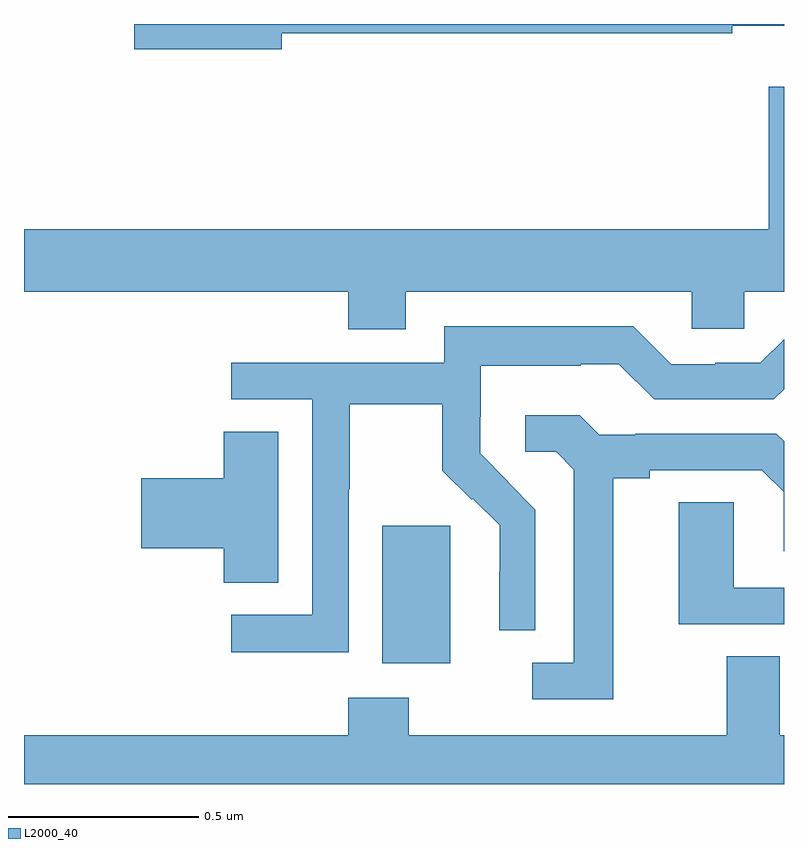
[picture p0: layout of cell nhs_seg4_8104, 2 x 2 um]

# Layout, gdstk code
import gdstk
lib = gdstk.Library(unit=1e-6, precision=1e-09)
def R(c, l, rs):  # rectangles x0, y0, x1, y1
    for r in rs: c.add(gdstk.rectangle(r[:2], r[2:], *l))
def P(c, l, *ps):  # polygons
    for p in ps: c.add(gdstk.Polygon(p, *l))
L2000_40 = (2000, 40)

nhs_seg4_8104 = lib.new_cell('nhs_seg4_8104')
R(nhs_seg4_8104, L2000_40, [(211.943,753.218,212.122,753.579)])
P(nhs_seg4_8104, L2000_40, [(211.678,754.876),(212.864,754.876),(212.864,754.895),(213,754.895),(213,754.9),(211.29,754.9),(211.29,754.834),(211.678,754.834)],
  [(212.005,754.196),(212.757,754.196),(212.757,754.098),(212.895,754.098),(212.895,754.196),(213,754.196),(213,754.735),(212.96,754.735),(212.96,754.36),(211,754.36),(211,754.196),(211.853,754.196),(211.853,754.097),(212.005,754.097)],
  [(211.854,753.676),(211.857,753.676),(211.857,753.9),(212.101,753.9),(212.101,753.725),(212.178,753.648),(212.181,753.651),(212.252,753.581),(212.252,753.458),(212.25,753.458),(212.25,753.304),(212.346,753.304),(212.346,753.622),(212.273,753.695),(212.274,753.696),(212.2,753.77),(212.2,753.867),(212.202,753.867),(212.202,754.001),(212.465,754.001),(212.465,754.005),(212.565,754.005),(212.658,753.912),(212.973,753.912),(213,753.939),(213,754.071),(212.937,754.008),(212.819,754.008),(212.819,754.005),(212.703,754.005),(212.603,754.105),(212.106,754.105),(212.106,754.008),(211.545,754.008),(211.545,753.912),(211.758,753.912),(211.758,753.345),(211.545,753.345),(211.545,753.247),(211.854,753.247)],
  [(212.551,753.704),(212.647,753.704),(212.647,753.726),(212.942,753.726),(212.999,753.669),(212.999,753.513),(213,753.513),(213,753.802),(212.98,753.822),(212.608,753.822),(212.608,753.819),(212.514,753.819),(212.462,753.871),(212.319,753.871),(212.319,753.774),(212.4,753.774),(212.447,753.727),(212.447,753.219),(212.337,753.219),(212.337,753.123),(212.551,753.123)],
  [(211.669,753.827),(211.526,753.827),(211.526,753.704),(211.308,753.704),(211.308,753.521),(211.526,753.521),(211.526,753.43),(211.669,753.43)],
  [(213,753.417),(212.868,753.417),(212.868,753.641),(212.723,753.641),(212.723,753.321),(213,753.321)],
  [(213,753.028),(212.989,753.028),(212.989,753.236),(212.849,753.236),(212.849,753.028),(212.013,753.028),(212.013,753.127),(211.853,753.127),(211.853,753.028),(211,753.028),(211,752.9),(213,752.9)])

lib.write_gds('nhs_seg4_8104.gds')
